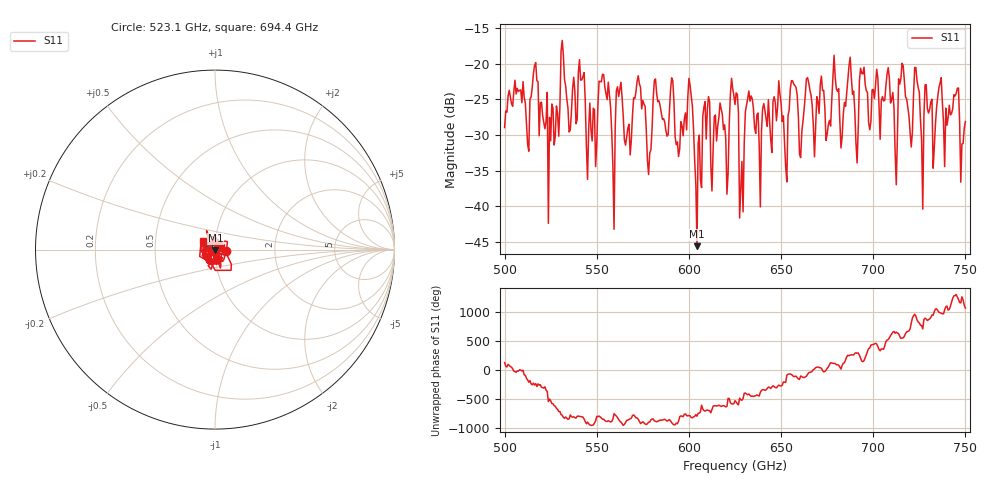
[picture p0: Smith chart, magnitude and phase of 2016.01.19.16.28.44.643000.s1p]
!Created with skrf (http://scikit-rf.org).
# GHz S RI R 50.0
!freq ReS11 ImS11
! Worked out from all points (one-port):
!   401 points, 500 GHz to 750 GHz, reference 50 ohm
!   lowest |S11| = -45.6 dB at 604.4 GHz (marker M1), VSWR 1.01, Z = 50.2 - j0.495 ohm
!   |S11| at or under -10 dB: start of sweep to end of sweep
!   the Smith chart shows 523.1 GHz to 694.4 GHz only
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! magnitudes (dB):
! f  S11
! 500 GHz  -28.9
! 516.9 GHz  -19.8
! 525 GHz  -30.8
! 531.2 GHz  -16.7
! 535 GHz  -29.6
! 541.9 GHz  -22.3
! 545.6 GHz  -29.0
! 553.1 GHz  -21.5
! 558.8 GHz  -34.4
! 562.5 GHz  -23.6
! 566.9 GHz  -29.0
! 572.5 GHz  -21.7
! 578.1 GHz  -35.5
! 590.6 GHz  -22.0
! 593.8 GHz  -31.0
! 600.6 GHz  -23.0
! 604.4 GHz  -45.6
! 625 GHz  -25.7
! 628.8 GHz  -33.7
! 632.5 GHz  -23.8
! 651.9 GHz  -31.1
! 656.2 GHz  -22.4
! 660.6 GHz  -33.2
! 687.5 GHz  -19.1
! 690.6 GHz  -31.1
! 693.8 GHz  -21.3
! 718.8 GHz  -26.0
! 750 GHz  -28.1
